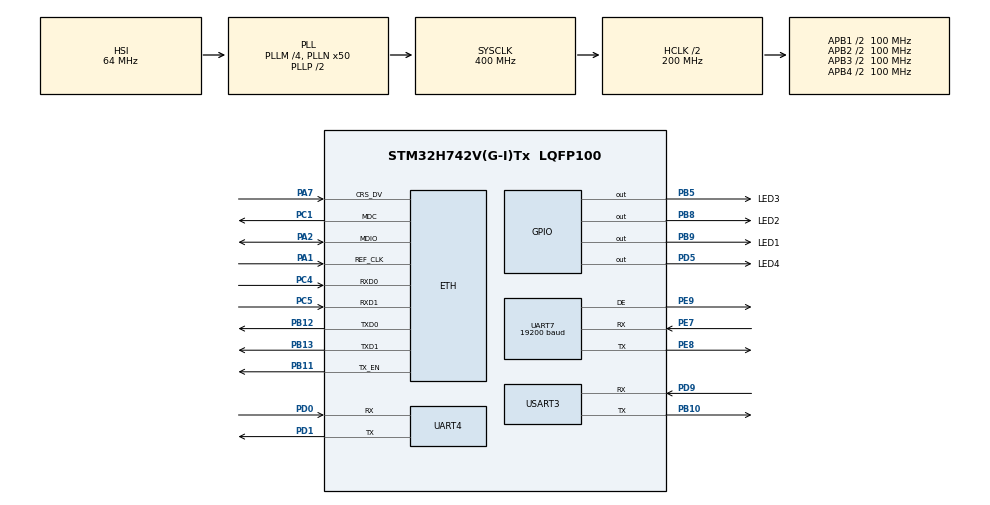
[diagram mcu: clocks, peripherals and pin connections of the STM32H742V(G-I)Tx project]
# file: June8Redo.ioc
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CORTEX_M7.AccessPermission_S-Cortex_Memory_Protection_Unit_Region1_Settings_S=MPU_REGION_FULL_ACCESS
CORTEX_M7.AccessPermission_S-Cortex_Memory_Protection_Unit_Region2_Settings_S=MPU_REGION_FULL_ACCESS
CORTEX_M7.BaseAddress_S-Cortex_Memory_Protection_Unit_Region1_Settings_S=0x30020000
CORTEX_M7.BaseAddress_S-Cortex_Memory_Protection_Unit_Region2_Settings_S=0x30040000
CORTEX_M7.CPU_DCache=Enabled
CORTEX_M7.CPU_ICache=Enabled
CORTEX_M7.DisableExec_S-Cortex_Memory_Protection_Unit_Region1_Settings_S=MPU_INSTRUCTION_ACCESS_DISABLE
CORTEX_M7.DisableExec_S-Cortex_Memory_Protection_Unit_Region2_Settings_S=MPU_INSTRUCTION_ACCESS_DISABLE
CORTEX_M7.Enable_S-Cortex_Memory_Protection_Unit_Region1_Settings_S=MPU_REGION_ENABLE
CORTEX_M7.Enable_S-Cortex_Memory_Protection_Unit_Region2_Settings_S=MPU_REGION_ENABLE
CORTEX_M7.IsBufferable_S-Cortex_Memory_Protection_Unit_Region2_Settings_S=MPU_ACCESS_BUFFERABLE
CORTEX_M7.IsShareable_S-Cortex_Memory_Protection_Unit_Region2_Settings_S=MPU_ACCESS_SHAREABLE
CORTEX_M7.Size_S-Cortex_Memory_Protection_Unit_Region1_Settings_S=MPU_REGION_SIZE_128KB
CORTEX_M7.Size_S-Cortex_Memory_Protection_Unit_Region2_Settings_S=MPU_REGION_SIZE_512B
CORTEX_M7.TypeExtField_S-Cortex_Memory_Protection_Unit_Region1_Settings_S=MPU_TEX_LEVEL1
CORTEX_M7.default_mode_Activation=1
ETH.MediaInterface=HAL_ETH_RMII_MODE
FREERTOS.Tasks01=defaultTask,-1,512,StartDefaultTask,Default,NULL,Dynamic,NULL,NULL;ModbusTask,1,512,StartModbus,Default,NULL,Dynamic,NULL,NULL;CellularTask,0,512,StartCellular,Default,NULL,Dynamic,NULL,NULL
LWIP.BSP.number=1
LWIP.IP_ADDRESS=192.168.003.050
LWIP.LWIP_DHCP=0
LWIP.LWIP_RAM_HEAP_POINTER=0x30020000
LWIP.MEM_SIZE=131048
LWIP.Version=v2.1.2_Cube
LWIP0.BSP.STBoard=false
LWIP0.BSP.api=BSP_COMPONENT_DRIVER
LWIP0.BSP.component=LAN8742
LWIP0.BSP.instance=LAN8742
LWIP0.BSP.name=Driver_PHY
LWIP0.BSP.semaphore=S_LAN8742
LWIP0.BSP.solution=LAN8742
Mcu.Family=STM32H7
Mcu.Name=STM32H742V(G-I)Tx
Mcu.Package=LQFP100
NVIC.ETH_IRQn=true\:5\:0\:true\:false\:true\:true\:true\:true\:true
NVIC.PriorityGroup=NVIC_PRIORITYGROUP_4
PA1.GPIO_Speed=GPIO_SPEED_FREQ_VERY_HIGH
PA1.Mode=RMII
PA1.Signal=ETH_REF_CLK
PA2.GPIO_Speed=GPIO_SPEED_FREQ_VERY_HIGH
PA2.Mode=RMII
PA2.Signal=ETH_MDIO
PA7.GPIO_Speed=GPIO_SPEED_FREQ_VERY_HIGH
PA7.Mode=RMII
PA7.Signal=ETH_CRS_DV
PB10.Mode=Asynchronous
PB10.Signal=USART3_TX
PB11.GPIO_Speed=GPIO_SPEED_FREQ_VERY_HIGH
PB11.Mode=RMII
PB11.Signal=ETH_TX_EN
PB12.GPIO_Speed=GPIO_SPEED_FREQ_VERY_HIGH
PB12.Mode=RMII
PB12.Signal=ETH_TXD0
PB13.GPIO_Speed=GPIO_SPEED_FREQ_VERY_HIGH
PB13.Mode=RMII
PB13.Signal=ETH_TXD1
PB5.GPIO_Label=LED3
PB5.Signal=GPIO_Output
PB8.GPIO_Label=LED2
PB8.Signal=GPIO_Output
PB9.GPIO_Label=LED1
PB9.Signal=GPIO_Output
PC1.GPIO_Speed=GPIO_SPEED_FREQ_VERY_HIGH
PC1.Mode=RMII
PC1.Signal=ETH_MDC
PC4.GPIO_Speed=GPIO_SPEED_FREQ_VERY_HIGH
PC4.Mode=RMII
PC4.Signal=ETH_RXD0
PC5.GPIO_Speed=GPIO_SPEED_FREQ_VERY_HIGH
PC5.Mode=RMII
PC5.Signal=ETH_RXD1
PD0.Mode=Asynchronous
PD0.Signal=UART4_RX
PD1.Mode=Asynchronous
PD1.Signal=UART4_TX
PD5.GPIO_Label=LED4
PD5.Signal=GPIO_Output
PD9.Mode=Asynchronous
PD9.Signal=USART3_RX
PE7.Mode=Asynchronous
PE7.Signal=UART7_RX
PE8.Mode=Asynchronous
PE8.Signal=UART7_TX
PE9.Mode=Hardware Flow Control (RS485)
PE9.Signal=UART7_DE
PH0-OSC_IN\ (PH0).Mode=HSE-External-Oscillator
PH0-OSC_IN\ (PH0).Signal=RCC_OSC_IN
PH1-OSC_OUT\ (PH1).Mode=HSE-External-Oscillator
PH1-OSC_OUT\ (PH1).Signal=RCC_OSC_OUT
ProjectManager.HeapSize=0x200
ProjectManager.StackSize=0x400
ProjectManager.TargetToolchain=STM32CubeIDE
RCC.ADCFreq_Value=129000000
RCC.APB1Freq_Value=100000000
RCC.APB2Freq_Value=100000000
RCC.APB3Freq_Value=100000000
RCC.APB4Freq_Value=100000000
RCC.CortexFreq_Value=400000000
RCC.D1PPRE=RCC_APB3_DIV2
RCC.D2PPRE1=RCC_APB1_DIV2
RCC.D2PPRE2=RCC_APB2_DIV2
RCC.D3PPRE=RCC_APB4_DIV2
RCC.DIVM1=4
RCC.DIVN1=50
RCC.HCLKFreq_Value=200000000
RCC.HPRE=RCC_HCLK_DIV2
RCC.PLL2FRACN=0
RCC.PLL3FRACN=0
RCC.PLLFRACN=0
RCC.SYSCLKFreq_VALUE=400000000
RCC.SYSCLKSource=RCC_SYSCLKSOURCE_PLLCLK
RCC.USBFreq_Value=400000000
UART7.BaudRate=19200
UART7.SwapParam=UART_ADVFEATURE_SWAP_ENABLE
USART3.VirtualMode-Asynchronous=VM_ASYNC
VP_FREERTOS_VS_CMSIS_V1.Mode=CMSIS_V1
VP_LWIP_VS_Enabled.Mode=Enabled
VP_MEMORYMAP_VS_MEMORYMAP.Mode=CurAppReg
board=custom

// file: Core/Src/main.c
/* USER CODE BEGIN Header */
/**
  ******************************************************************************
  * @file           : main.c
  * @brief          : Main program body
  ******************************************************************************
  * @attention
  *
  * Copyright (c) 2026 STMicroelectronics.
  * All rights reserved.
  *
  * This software is licensed under terms that can be found in the LICENSE file
  * in the root directory of this software component.
  * If no LICENSE file comes with this software, it is provided AS-IS.
  *
  ******************************************************************************
  */
/* USER CODE END Header */
#include "main.h"
#include "cmsis_os.h"
#include "lwip.h"

/* USER CODE BEGIN Includes */

#include "modbus_tcp_minimal.h"
#include "modbus_rtu_master.h"
#include "telemetry_store.h"
#include "lwip/netif.h"
#include <stdio.h>
#include <stdbool.h>
#include <string.h>
#include "EC25.h"

/* USER CODE END Includes */

/* USER CODE BEGIN PD */

#define MB_PANEL_IP              "192.168.3.198"
#define MB_PANEL_PORT            502U
#define MB_PANEL_UNIT            1U
#define MB_RTU_SLAVE             6U
#define MB_RTU_BLOCK_START       1U
#define MB_RTU_BLOCK_COUNT       18U
#define MB_FAST_MS               7000U
#define MB_SLOW_MS               600000U
#define MB_START_MS              20000U
#define CELL_PRINT_MS            1000U
#define CELL_SLOW_RETRY_MS       60000U

/* USER CODE END PD */

UART_HandleTypeDef huart4;
UART_HandleTypeDef huart7;
UART_HandleTypeDef huart3;

osThreadId defaultTaskHandle;
osThreadId ModbusTaskHandle;
osThreadId CellularTaskHandle;
/* USER CODE BEGIN PV */

typedef struct
{
    uint16_t addr;
    bool     is_long;
} ModbusRtuPollReg_t;

static ModbusTcpClient_t g_modbus_client;
static ModbusRTU_Master_t g_rtu;

extern struct netif gnetif;

static const uint16_t mk3d_fast_tcp[] =
{
    1000, 1001, 1003, 1800, 2006, 2011, 2012, 2013, 2014, 2000, 2001, 2003, 2004
};

static const uint16_t mk3d_slow_tcp[] =
{
    1802, 1803, 1804, 1805, 1806, 1807, 1808,
    1810, 1811, 1812, 1813, 1814, 1815,
    1816, 1817, 1818, 1819, 1820, 1821,
    1822, 1823, 1824, 1825, 1826, 1827,
    1828, 1829, 1830, 1831, 1832, 1833,
    1834, 1835, 1836, 1837, 1838, 1839,
    1840, 1841, 1842, 1843, 1844, 1845,
    1856, 1857, 1858, 1859, 1860, 1861, 2015, 3028, 3029,
};

static const ModbusRtuPollReg_t fcjc_rtu_regs[] =
{
    {  1, false },
    {  2, false },
    {  6, true  },
    {  8, true  },
    { 12, false },
    { 17, false },
    { 18, false },
};

static char s_mb_json_buf[TELEMETRY_JSON_MAX];
static char s_cell_json_buf[TELEMETRY_JSON_MAX];
static uint16_t s_rtu_block[MB_RTU_BLOCK_COUNT];
static uint32_t s_next_slow_at = 0U;

/* USER CODE END PV */

void SystemClock_Config(void);
static void MPU_Config(void);
static void MX_GPIO_Init(void);
static void MX_UART4_Init(void);
static void MX_UART7_Init(void);
static void MX_USART3_UART_Init(void);
void StartDefaultTask(void const * argument);
void StartModbus(void const * argument);
void StartCellular(void const * argument);

/* USER CODE BEGIN PFP */

static bool Mb_NetReady(void);
static bool Mb_AppendTcpRegs(char *buf, size_t buflen, int *pos,
                             const uint16_t *addrs, uint32_t count);
static bool Mb_AppendRtuRegs(char *buf, size_t buflen, int *pos);
static void Mb_BuildAndPublishFast(void);
static void Mb_BuildAndPublishSlow(void);

/* USER CODE END PFP */

/* USER CODE BEGIN 0 */
osMutexId printfMutex;
osMutexDef(PrintfMutex);

static bool Mb_NetReady(void)
{
    return netif_is_up(&gnetif) && netif_is_link_up(&gnetif);
}

static bool Mb_AppendTcpRegs(char *buf, size_t buflen, int *pos,
                             const uint16_t *addrs, uint32_t count)
{
    uint16_t value;

    for (uint32_t i = 0; i < count; i++)
    {
        int n;
        size_t avail;

        if (*pos < 0 || (size_t)*pos >= buflen)
        {
            return false;
        }
        avail = buflen - (size_t)*pos;

        if (ModbusTcp_ReadHoldingRegister(&g_modbus_client, addrs[i], &value) == 0)
        {
            n = snprintf(buf + *pos, avail,
                         "%s\"%u\":%u",
                         (i == 0U) ? "" : ",",
                         (unsigned)addrs[i],
                         (unsigned)value);
        }
        else
        {
            n = snprintf(buf + *pos, avail,
                         "%s\"%u\":null",
                         (i == 0U) ? "" : ",",
                         (unsigned)addrs[i]);
        }

        if (n < 0 || (size_t)n >= avail)
        {
            return false;
        }
        *pos += n;
    }

    return true;
}

static bool Mb_AppendRtuRegs(char *buf, size_t buflen, int *pos)
{
    uint32_t reg_count = (uint32_t)(sizeof(fcjc_rtu_regs) / sizeof(fcjc_rtu_regs[0]));

    if (!ModbusRTU_ReadHoldingRegisters(&g_rtu,
                                        MB_RTU_SLAVE,
                                        MB_RTU_BLOCK_START,
                                        MB_RTU_BLOCK_COUNT,
                                        s_rtu_block))
    {
        int n = snprintf(buf + *pos, buflen - (size_t)*pos, "\"error\":\"read_fail\"");
        if (n < 0 || (size_t)n >= buflen - (size_t)*pos)
        {
            return false;
        }
        *pos += n;
        return true;
    }

    for (uint32_t i = 0; i < reg_count; i++)
    {
        const ModbusRtuPollReg_t *reg = &fcjc_rtu_regs[i];
        uint32_t idx = (uint32_t)(reg->addr - MB_RTU_BLOCK_START);
        int n;
        size_t avail;

        if (idx >= MB_RTU_BLOCK_COUNT)
        {
            continue;
        }

        if (*pos < 0 || (size_t)*pos >= buflen)
        {
            return false;
        }
        avail = buflen - (size_t)*pos;

        if (reg->is_long && (idx + 1U) < MB_RTU_BLOCK_COUNT)
        {
            uint32_t value = ((uint32_t)s_rtu_block[idx] << 16) | s_rtu_block[idx + 1U];
            n = snprintf(buf + *pos, avail,
                         "%s\"%u\":%lu",
                         (i == 0U) ? "" : ",",
                         (unsigned)reg->addr,
                         (unsigned long)value);
        }
        else
        {
            n = snprintf(buf + *pos, avail,
                         "%s\"%u\":%u",
                         (i == 0U) ? "" : ",",
                         (unsigned)reg->addr,
                         (unsigned)s_rtu_block[idx]);
        }

        if (n < 0 || (size_t)n >= avail)
        {
            return false;
        }
        *pos += n;
    }

    return true;
}

static void Mb_BuildAndPublishFast(void)
{
    char *buf = s_mb_json_buf;
    int pos;
    int n;

    if (!Mb_NetReady())
    {
        ModbusTcp_Disconnect(&g_modbus_client);
        return;
    }

    pos = snprintf(buf, sizeof(s_mb_json_buf),
                   "{\"deviceid\":%d,\"config\":\"%s\",\"tcp_fast\":{",
                   TELEMETRY_DEVICE_ID,
                   TELEMETRY_CONFIG_NAME);
    if (pos < 0 || (size_t)pos >= sizeof(s_mb_json_buf))
    {
        return;
    }

    if (!Mb_AppendTcpRegs(buf, sizeof(s_mb_json_buf), &pos, mk3d_fast_tcp,
                          (uint32_t)(sizeof(mk3d_fast_tcp) / sizeof(mk3d_fast_tcp[0]))))
    {
        return;
    }

    n = snprintf(buf + pos, sizeof(s_mb_json_buf) - (size_t)pos, "},\"rtu\":{");
    if (n < 0 || (size_t)n >= sizeof(s_mb_json_buf) - (size_t)pos)
    {
        return;
    }
    pos += n;

    if (!Mb_AppendRtuRegs(buf, sizeof(s_mb_json_buf), &pos))
    {
        return;
    }

    n = snprintf(buf + pos, sizeof(s_mb_json_buf) - (size_t)pos, "}}");
    if (n < 0 || (size_t)n >= sizeof(s_mb_json_buf) - (size_t)pos)
    {
        return;
    }

    Telemetry_PublishFast(buf);
}

static void Mb_BuildAndPublishSlow(void)
{
    char *buf = s_mb_json_buf;
    int pos;
    int n;

    if (!Mb_NetReady())
    {
        ModbusTcp_Disconnect(&g_modbus_client);
        return;
    }

    pos = snprintf(buf, sizeof(s_mb_json_buf),
                   "{\"deviceid\":%d,\"config\":\"%s\",\"tcp_slow\":{",
                   TELEMETRY_DEVICE_ID,
                   TELEMETRY_CONFIG_NAME);
    if (pos < 0 || (size_t)pos >= sizeof(s_mb_json_buf))
    {
        return;
    }

    if (!Mb_AppendTcpRegs(buf, sizeof(s_mb_json_buf), &pos, mk3d_slow_tcp,
                          (uint32_t)(sizeof(mk3d_slow_tcp) / sizeof(mk3d_slow_tcp[0]))))
    {
        return;
    }

    n = snprintf(buf + pos, sizeof(s_mb_json_buf) - (size_t)pos, "}}");
    if (n < 0 || (size_t)n >= sizeof(s_mb_json_buf) - (size_t)pos)
    {
        return;
    }

    Telemetry_PublishSlow(buf);
}

void ArmSlowPollAfterSend(void)
{
    s_next_slow_at = HAL_GetTick() + MB_SLOW_MS;
}

/* USER CODE END 0 */

int main(void)
{

  /* MPU Configuration--------------------------------------------------------*/
  MPU_Config();

  /* Enable the CPU Cache */

  /* Enable I-Cache---------------------------------------------------------*/
  SCB_EnableICache();

  /* Enable D-Cache---------------------------------------------------------*/
  SCB_EnableDCache();

  /* MCU Configuration--------------------------------------------------------*/

  /* Reset of all peripherals, Initializes the Flash interface and the Systick. */
  HAL_Init();

  /* Configure the system clock */
  SystemClock_Config();

  /* Initialize all configured peripherals */
  MX_GPIO_Init();
  MX_UART4_Init();
  MX_UART7_Init();
  MX_USART3_UART_Init();

  /* USER CODE BEGIN RTOS_MUTEX */
  printfMutex = osMutexCreate(osMutex(PrintfMutex));
  Telemetry_Init();
  /* USER CODE END RTOS_MUTEX */

  /* Create the thread(s) */
  /* definition and creation of defaultTask */
  osThreadDef(defaultTask, StartDefaultTask, osPriorityBelowNormal, 0, 512);
  defaultTaskHandle = osThreadCreate(osThread(defaultTask), NULL);

  /* definition and creation of ModbusTask */
  osThreadDef(ModbusTask, StartModbus, osPriorityAboveNormal, 0, 512);
  ModbusTaskHandle = osThreadCreate(osThread(ModbusTask), NULL);

  /* definition and creation of CellularTask */
  osThreadDef(CellularTask, StartCellular, osPriorityNormal, 0, 512);
  CellularTaskHandle = osThreadCreate(osThread(CellularTask), NULL);

  /* Start scheduler */
  osKernelStart();

  /* We should never get here as control is now taken by the scheduler */

  /* Infinite loop */
  while (1)
  {

  }
}

void SystemClock_Config(void)
{
  RCC_OscInitTypeDef RCC_OscInitStruct = {0};
  RCC_ClkInitTypeDef RCC_ClkInitStruct = {0};

  /** Supply configuration update enable
  */
  HAL_PWREx_ConfigSupply(PWR_LDO_SUPPLY);

  /** Configure the main internal regulator output voltage
  */
  __HAL_PWR_VOLTAGESCALING_CONFIG(PWR_REGULATOR_VOLTAGE_SCALE1);

  while(!__HAL_PWR_GET_FLAG(PWR_FLAG_VOSRDY)) {}

  /** Initializes the RCC Oscillators according to the specified parameters
  * in the RCC_OscInitTypeDef structure.
  */
  RCC_OscInitStruct.OscillatorType = RCC_OSCILLATORTYPE_HSI;
  RCC_OscInitStruct.HSIState = RCC_HSI_DIV1;
  RCC_OscInitStruct.HSICalibrationValue = RCC_HSICALIBRATION_DEFAULT;
  RCC_OscInitStruct.PLL.PLLState = RCC_PLL_ON;
  RCC_OscInitStruct.PLL.PLLSource = RCC_PLLSOURCE_HSI;
  RCC_OscInitStruct.PLL.PLLM = 4;
  RCC_OscInitStruct.PLL.PLLN = 50;
  RCC_OscInitStruct.PLL.PLLP = 2;
  RCC_OscInitStruct.PLL.PLLQ = 2;
  RCC_OscInitStruct.PLL.PLLR = 2;
  RCC_OscInitStruct.PLL.PLLRGE = RCC_PLL1VCIRANGE_3;
  RCC_OscInitStruct.PLL.PLLVCOSEL = RCC_PLL1VCOWIDE;
  RCC_OscInitStruct.PLL.PLLFRACN = 0;
  if (HAL_RCC_OscConfig(&RCC_OscInitStruct) != HAL_OK)
  {
    Error_Handler();
  }

  /** Initializes the CPU, AHB and APB buses clocks
  */
  RCC_ClkInitStruct.ClockType = RCC_CLOCKTYPE_HCLK|RCC_CLOCKTYPE_SYSCLK
                              |RCC_CLOCKTYPE_PCLK1|RCC_CLOCKTYPE_PCLK2
                              |RCC_CLOCKTYPE_D3PCLK1|RCC_CLOCKTYPE_D1PCLK1;
  RCC_ClkInitStruct.SYSCLKSource = RCC_SYSCLKSOURCE_PLLCLK;
  RCC_ClkInitStruct.SYSCLKDivider = RCC_SYSCLK_DIV1;
  RCC_ClkInitStruct.AHBCLKDivider = RCC_HCLK_DIV2;
  RCC_ClkInitStruct.APB3CLKDivider = RCC_APB3_DIV2;
  RCC_ClkInitStruct.APB1CLKDivider = RCC_APB1_DIV2;
  RCC_ClkInitStruct.APB2CLKDivider = RCC_APB2_DIV2;
  RCC_ClkInitStruct.APB4CLKDivider = RCC_APB4_DIV2;

  if (HAL_RCC_ClockConfig(&RCC_ClkInitStruct, FLASH_LATENCY_2) != HAL_OK)
  {
    Error_Handler();
  }
}

static void MX_UART4_Init(void)
{

  huart4.Instance = UART4;
  huart4.Init.BaudRate = 115200;
  huart4.Init.WordLength = UART_WORDLENGTH_8B;
  huart4.Init.StopBits = UART_STOPBITS_1;
  huart4.Init.Parity = UART_PARITY_NONE;
  huart4.Init.Mode = UART_MODE_TX_RX;
  huart4.Init.HwFlowCtl = UART_HWCONTROL_NONE;
  huart4.Init.OverSampling = UART_OVERSAMPLING_16;
  huart4.Init.OneBitSampling = UART_ONE_BIT_SAMPLE_DISABLE;
  huart4.Init.ClockPrescaler = UART_PRESCALER_DIV1;
  huart4.AdvancedInit.AdvFeatureInit = UART_ADVFEATURE_NO_INIT;
  if (HAL_UART_Init(&huart4) != HAL_OK)
  {
    Error_Handler();
  }
  if (HAL_UARTEx_SetTxFifoThreshold(&huart4, UART_TXFIFO_THRESHOLD_1_8) != HAL_OK)
  {
    Error_Handler();
  }
  if (HAL_UARTEx_SetRxFifoThreshold(&huart4, UART_RXFIFO_THRESHOLD_1_8) != HAL_OK)
  {
    Error_Handler();
  }
  if (HAL_UARTEx_DisableFifoMode(&huart4) != HAL_OK)
  {
    Error_Handler();
  }

}

static void MX_UART7_Init(void)
{

  huart7.Instance = UART7;
  huart7.Init.BaudRate = 19200;
  huart7.Init.WordLength = UART_WORDLENGTH_8B;
  huart7.Init.StopBits = UART_STOPBITS_1;
  huart7.Init.Parity = UART_PARITY_NONE;
  huart7.Init.Mode = UART_MODE_TX_RX;
  huart7.Init.HwFlowCtl = UART_HWCONTROL_NONE;
  huart7.Init.OverSampling = UART_OVERSAMPLING_16;
  huart7.Init.OneBitSampling = UART_ONE_BIT_SAMPLE_DISABLE;
  huart7.Init.ClockPrescaler = UART_PRESCALER_DIV1;
  huart7.AdvancedInit.AdvFeatureInit = UART_ADVFEATURE_SWAP_INIT;
  huart7.AdvancedInit.Swap = UART_ADVFEATURE_SWAP_ENABLE;
  if (HAL_RS485Ex_Init(&huart7, UART_DE_POLARITY_HIGH, 0, 0) != HAL_OK)
  {
    Error_Handler();
  }
  if (HAL_UARTEx_SetTxFifoThreshold(&huart7, UART_TXFIFO_THRESHOLD_1_8) != HAL_OK)
  {
    Error_Handler();
  }
  if (HAL_UARTEx_SetRxFifoThreshold(&huart7, UART_RXFIFO_THRESHOLD_1_8) != HAL_OK)
  {
    Error_Handler();
  }
  if (HAL_UARTEx_DisableFifoMode(&huart7) != HAL_OK)
  {
    Error_Handler();
  }

}

static void MX_USART3_UART_Init(void)
{

  huart3.Instance = USART3;
  huart3.Init.BaudRate = 115200;
  huart3.Init.WordLength = UART_WORDLENGTH_8B;
  huart3.Init.StopBits = UART_STOPBITS_1;
  huart3.Init.Parity = UART_PARITY_NONE;
  huart3.Init.Mode = UART_MODE_TX_RX;
  huart3.Init.HwFlowCtl = UART_HWCONTROL_NONE;
  huart3.Init.OverSampling = UART_OVERSAMPLING_16;
  huart3.Init.OneBitSampling = UART_ONE_BIT_SAMPLE_DISABLE;
  huart3.Init.ClockPrescaler = UART_PRESCALER_DIV1;
  huart3.AdvancedInit.AdvFeatureInit = UART_ADVFEATURE_NO_INIT;
  if (HAL_UART_Init(&huart3) != HAL_OK)
  {
    Error_Handler();
  }
  if (HAL_UARTEx_SetTxFifoThreshold(&huart3, UART_TXFIFO_THRESHOLD_1_8) != HAL_OK)
  {
    Error_Handler();
  }
  if (HAL_UARTEx_SetRxFifoThreshold(&huart3, UART_RXFIFO_THRESHOLD_1_8) != HAL_OK)
  {
    Error_Handler();
  }
  if (HAL_UARTEx_DisableFifoMode(&huart3) != HAL_OK)
  {
    Error_Handler();
  }

}

static void MX_GPIO_Init(void)
{
  GPIO_InitTypeDef GPIO_InitStruct = {0};

  /* GPIO Ports Clock Enable */
  __HAL_RCC_GPIOH_CLK_ENABLE();
  __HAL_RCC_GPIOC_CLK_ENABLE();
  __HAL_RCC_GPIOA_CLK_ENABLE();
  __HAL_RCC_GPIOE_CLK_ENABLE();
  __HAL_RCC_GPIOB_CLK_ENABLE();
  __HAL_RCC_GPIOD_CLK_ENABLE();

  /*Configure GPIO pin Output Level */
  HAL_GPIO_WritePin(LED4_GPIO_Port, LED4_Pin, GPIO_PIN_RESET);

  /*Configure GPIO pin Output Level */
  HAL_GPIO_WritePin(GPIOB, LED3_Pin|LED2_Pin|LED1_Pin, GPIO_PIN_RESET);

  /*Configure GPIO pin : LED4_Pin */
  GPIO_InitStruct.Pin = LED4_Pin;
  GPIO_InitStruct.Mode = GPIO_MODE_OUTPUT_PP;
  GPIO_InitStruct.Pull = GPIO_NOPULL;
  GPIO_InitStruct.Speed = GPIO_SPEED_FREQ_LOW;
  HAL_GPIO_Init(LED4_GPIO_Port, &GPIO_InitStruct);

  /*Configure GPIO pins : LED3_Pin LED2_Pin LED1_Pin */
  GPIO_InitStruct.Pin = LED3_Pin|LED2_Pin|LED1_Pin;
  GPIO_InitStruct.Mode = GPIO_MODE_OUTPUT_PP;
  GPIO_InitStruct.Pull = GPIO_NOPULL;
  GPIO_InitStruct.Speed = GPIO_SPEED_FREQ_LOW;
  HAL_GPIO_Init(GPIOB, &GPIO_InitStruct);

}

/* USER CODE BEGIN 4 */
int _write(int file, char *ptr, int len)
{
    if (printfMutex != NULL)
    {
        osMutexWait(printfMutex, osWaitForever);
    }

    HAL_UART_Transmit(&huart3, (uint8_t *)ptr, len, 100);

    if (printfMutex != NULL)
    {
        osMutexRelease(printfMutex);
    }

    return len;
}
/* USER CODE END 4 */

void StartDefaultTask(void const * argument)
{
  /* init code for LWIP */
  MX_LWIP_Init();
  for(;;)
  {
    osDelay(1);
  }
}

void StartModbus(void const * argument)
{
  /* USER CODE BEGIN StartModbus */
  uint32_t next_fast_at = 0U;

  (void)argument;

  vTaskDelay(pdMS_TO_TICKS(MB_START_MS));

  {
    uint32_t t0 = HAL_GetTick();
    while (!Mb_NetReady())
    {
      if ((HAL_GetTick() - t0) > 30000U)
      {
        printf("{\"mb\":\"waiting for ethernet link timeout\"}\r\n");
        break;
      }
      osDelay(100);
    }
  }

  ModbusTcp_Init(&g_modbus_client, MB_PANEL_IP, MB_PANEL_PORT, (uint8_t)MB_PANEL_UNIT);
  ModbusRTU_Master_Init(&g_rtu, &huart7);

  printf("{\"mb\":\"started\",\"fast_ms\":%lu,\"slow_ms\":%lu,\"ip\":\"%s\"}\r\n",
         (unsigned long)MB_FAST_MS,
         (unsigned long)MB_SLOW_MS,
         MB_PANEL_IP);

  for (;;)
  {
    uint32_t now = HAL_GetTick();

    if (next_fast_at == 0U || (int32_t)(now - next_fast_at) >= 0)
    {
      Mb_BuildAndPublishFast();
      next_fast_at = HAL_GetTick() + MB_FAST_MS;
    }

    if (s_next_slow_at == 0U)
    {
      s_next_slow_at = HAL_GetTick() + MB_SLOW_MS;
    }
    else if ((int32_t)(now - s_next_slow_at) >= 0)
    {
      if (!Telemetry_HasPendingSlow())
      {
        Mb_BuildAndPublishSlow();
        if (!Telemetry_HasPendingSlow())
        {
          s_next_slow_at = HAL_GetTick() + MB_SLOW_MS;
        }
      }
    }

    vTaskDelay(pdMS_TO_TICKS(100));
  }
  /* USER CODE END StartModbus */
}

void StartCellular(void const * argument)
{
  /* USER CODE BEGIN StartCellular */
  uint32_t seq;
  uint32_t slow_retry_at = 0U;

  (void)argument;

  CELLSetup(&huart4);

  for (;;)
  {
	  GreenOn();
    if (Telemetry_TakeFast(s_cell_json_buf, sizeof(s_cell_json_buf), &seq))
    {
      printf("[CELL] fast seq=%lu: %s\r\n", (unsigned long)seq, s_cell_json_buf);
      if (EC25_PUBLISH(s_cell_json_buf, 1, &huart4))
      {
        Telemetry_AckFast(seq);
      }
      else
      {
        printf("[CELL] fast publish failed seq=%lu\r\n", (unsigned long)seq);
      }
    }

    if (Telemetry_TakeSlow(s_cell_json_buf, sizeof(s_cell_json_buf), &seq))
    {
      if (slow_retry_at == 0U ||
          (int32_t)(HAL_GetTick() - slow_retry_at) >= 0)
      {
        printf("[CELL] slow seq=%lu: %s\r\n", (unsigned long)seq, s_cell_json_buf);
        if (EC25_PUBLISH(s_cell_json_buf, 1, &huart4))
        {
          Telemetry_AckSlow(seq);
          ArmSlowPollAfterSend();
          slow_retry_at = 0U;
        }
        else
        {
          printf("[CELL] slow publish failed seq=%lu\r\n", (unsigned long)seq);
          slow_retry_at = HAL_GetTick() + CELL_SLOW_RETRY_MS;
        }
      }
    }

    vTaskDelay(pdMS_TO_TICKS(CELL_PRINT_MS));
    GreenOFF();
  }
  /* USER CODE END StartCellular */
}

 /* MPU Configuration */

void MPU_Config(void)
{
  MPU_Region_InitTypeDef MPU_InitStruct = {0};

  /* Disables the MPU */
  HAL_MPU_Disable();

  /** Initializes and configures the Region and the memory to be protected
  */
  MPU_InitStruct.Enable = MPU_REGION_ENABLE;
  MPU_InitStruct.Number = MPU_REGION_NUMBER0;
  MPU_InitStruct.BaseAddress = 0x0;
  MPU_InitStruct.Size = MPU_REGION_SIZE_4GB;
  MPU_InitStruct.SubRegionDisable = 0x87;
  MPU_InitStruct.TypeExtField = MPU_TEX_LEVEL0;
  MPU_InitStruct.AccessPermission = MPU_REGION_NO_ACCESS;
  MPU_InitStruct.DisableExec = MPU_INSTRUCTION_ACCESS_DISABLE;
  MPU_InitStruct.IsShareable = MPU_ACCESS_SHAREABLE;
  MPU_InitStruct.IsCacheable = MPU_ACCESS_NOT_CACHEABLE;
  MPU_InitStruct.IsBufferable = MPU_ACCESS_NOT_BUFFERABLE;

  HAL_MPU_ConfigRegion(&MPU_InitStruct);

  /** Initializes and configures the Region and the memory to be protected
  */
  MPU_InitStruct.Number = MPU_REGION_NUMBER1;
  MPU_InitStruct.BaseAddress = 0x30020000;
  MPU_InitStruct.Size = MPU_REGION_SIZE_128KB;
  MPU_InitStruct.SubRegionDisable = 0x0;
  MPU_InitStruct.TypeExtField = MPU_TEX_LEVEL1;
  MPU_InitStruct.AccessPermission = MPU_REGION_FULL_ACCESS;
  MPU_InitStruct.IsShareable = MPU_ACCESS_NOT_SHAREABLE;

  HAL_MPU_ConfigRegion(&MPU_InitStruct);

  /** Initializes and configures the Region and the memory to be protected
  */
  MPU_InitStruct.Number = MPU_REGION_NUMBER2;
  MPU_InitStruct.BaseAddress = 0x30040000;
  MPU_InitStruct.Size = MPU_REGION_SIZE_512B;
  MPU_InitStruct.TypeExtField = MPU_TEX_LEVEL0;
  MPU_InitStruct.IsShareable = MPU_ACCESS_SHAREABLE;
  MPU_InitStruct.IsBufferable = MPU_ACCESS_BUFFERABLE;

  HAL_MPU_ConfigRegion(&MPU_InitStruct);
  /* Enables the MPU */
  HAL_MPU_Enable(MPU_PRIVILEGED_DEFAULT);

}

void Error_Handler(void)
{
  __disable_irq();
  while (1)
  {
  }
}
